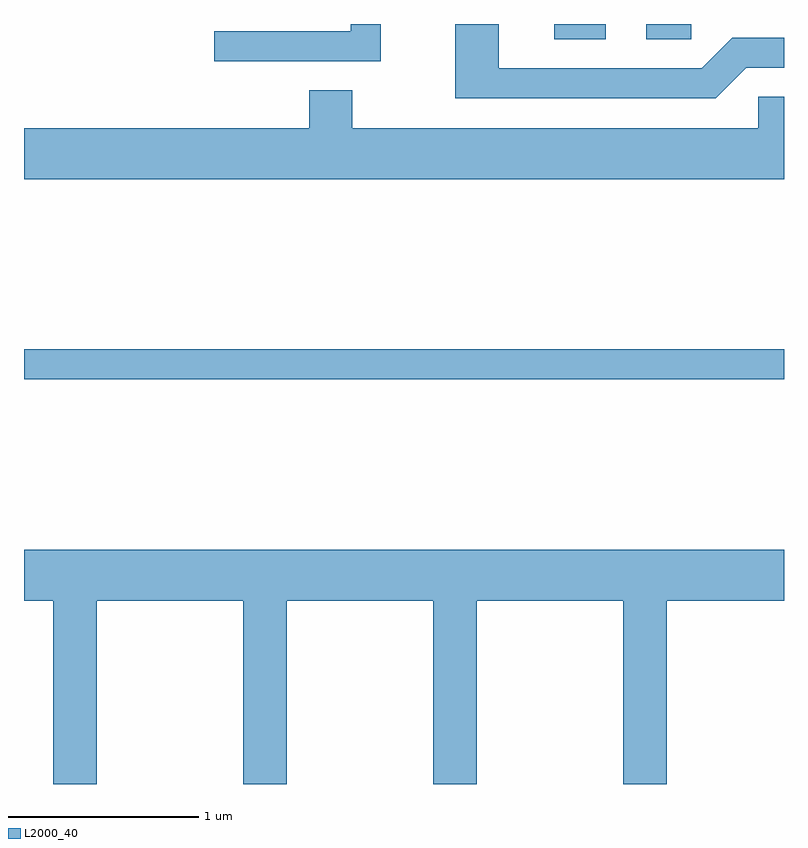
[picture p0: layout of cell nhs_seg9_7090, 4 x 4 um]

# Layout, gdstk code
import gdstk
lib = gdstk.Library(unit=1e-6, precision=1e-09)
def R(c, l, rs):  # rectangles x0, y0, x1, y1
    for r in rs: c.add(gdstk.rectangle(r[:2], r[2:], *l))
def P(c, l, *ps):  # polygons
    for p in ps: c.add(gdstk.Polygon(p, *l))
L2000_40 = (2000, 40)

nhs_seg9_7090 = lib.new_cell('nhs_seg9_7090')
R(nhs_seg9_7090, L2000_40, [(395.611,1968.561,399.611,1968.719), (398.401,1970.351,398.673,1970.432), (398.886,1970.351,399.123,1970.432)])
P(nhs_seg9_7090, L2000_40, [(399.412,1970.201),(399.611,1970.201),(399.611,1970.359),(399.339,1970.359),(399.179,1970.199),(398.109,1970.199),(398.109,1970.432),(397.881,1970.432),(397.881,1970.041),(399.252,1970.041)],
  [(397.489,1970.432),(397.331,1970.432),(397.331,1970.394),(396.613,1970.394),(396.613,1970.236),(397.489,1970.236)],
  [(399.611,1970.049),(399.476,1970.049),(399.476,1969.884),(397.339,1969.884),(397.339,1970.084),(397.111,1970.084),(397.111,1969.884),(395.611,1969.884),(395.611,1969.616),(399.611,1969.616)],
  [(395.994,1967.396),(396.766,1967.396),(396.766,1966.432),(396.994,1966.432),(396.994,1967.396),(397.766,1967.396),(397.766,1966.432),(397.994,1966.432),(397.994,1967.396),(398.766,1967.396),(398.766,1966.432),(398.994,1966.432),(398.994,1967.396),(399.611,1967.396),(399.611,1967.664),(395.611,1967.664),(395.611,1967.396),(395.766,1967.396),(395.766,1966.432),(395.994,1966.432)])

lib.write_gds('nhs_seg9_7090.gds')
